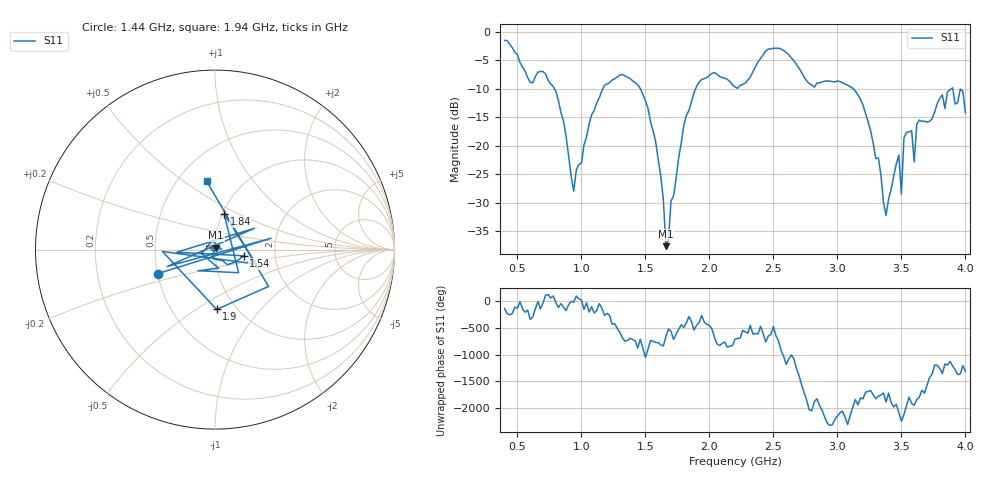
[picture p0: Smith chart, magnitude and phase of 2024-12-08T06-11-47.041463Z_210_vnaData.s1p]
!Created with skrf (http://scikit-rf.org).
# Hz S RI R 50.0
!freq ReS11 ImS11
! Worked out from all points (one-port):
!   181 points, 400 MHz to 4 GHz, reference 50 ohm
!   lowest |S11| = -37.7 dB at 1.66 GHz (marker M1), VSWR 1.03, Z = 50.7 + j1.14 ohm
!   |S11| at or under -10 dB: 789.6 MHz to 1.167 GHz (377.2 MHz wide, 38.6 % of centre); 1.461 GHz to 1.892 GHz (430.8 MHz wide, 25.7 % of centre); 3.124 GHz to 3.889 GHz (764.7 MHz wide, 21.8 % of centre) (the widest 3 of 4)
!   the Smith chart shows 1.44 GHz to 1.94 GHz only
!   S11 on the Smith chart (normalised r, x): 1.44 GHz: 0.50, -0.15; 1.54 GHz: 1.37, -0.10; 1.84 GHz: 1.02, +0.42; 1.9 GHz: 0.81, -0.61; 1.94 GHz: 0.69, +0.61
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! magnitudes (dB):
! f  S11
! 400 MHz  -1.5
! 720 MHz  -7.4
! 860 MHz  -15.7
! 940 MHz  -28.0
! 1.08 GHz  -14.5
! 1.3 GHz  -7.6
! 1.44 GHz  -9.3
! 1.54 GHz  -15.8
! 1.62 GHz  -25.4
! 1.66 GHz  -37.7
! 1.76 GHz  -22.1
! 1.84 GHz  -13.8
! 1.9 GHz  -9.5
! 1.94 GHz  -8.3
! 2.2 GHz  -9.7
! 2.46 GHz  -3.0
! 2.66 GHz  -5.1
! 3.1 GHz  -9.6
! 3.32 GHz  -22.1
! 3.38 GHz  -32.2
! 3.48 GHz  -21.7
! 3.5 GHz  -28.5
! 3.52 GHz  -18.6
! 3.56 GHz  -17.6
! 3.6 GHz  -22.9
! 3.62 GHz  -16.2
! 3.82 GHz  -11.0
! 4 GHz  -14.2
